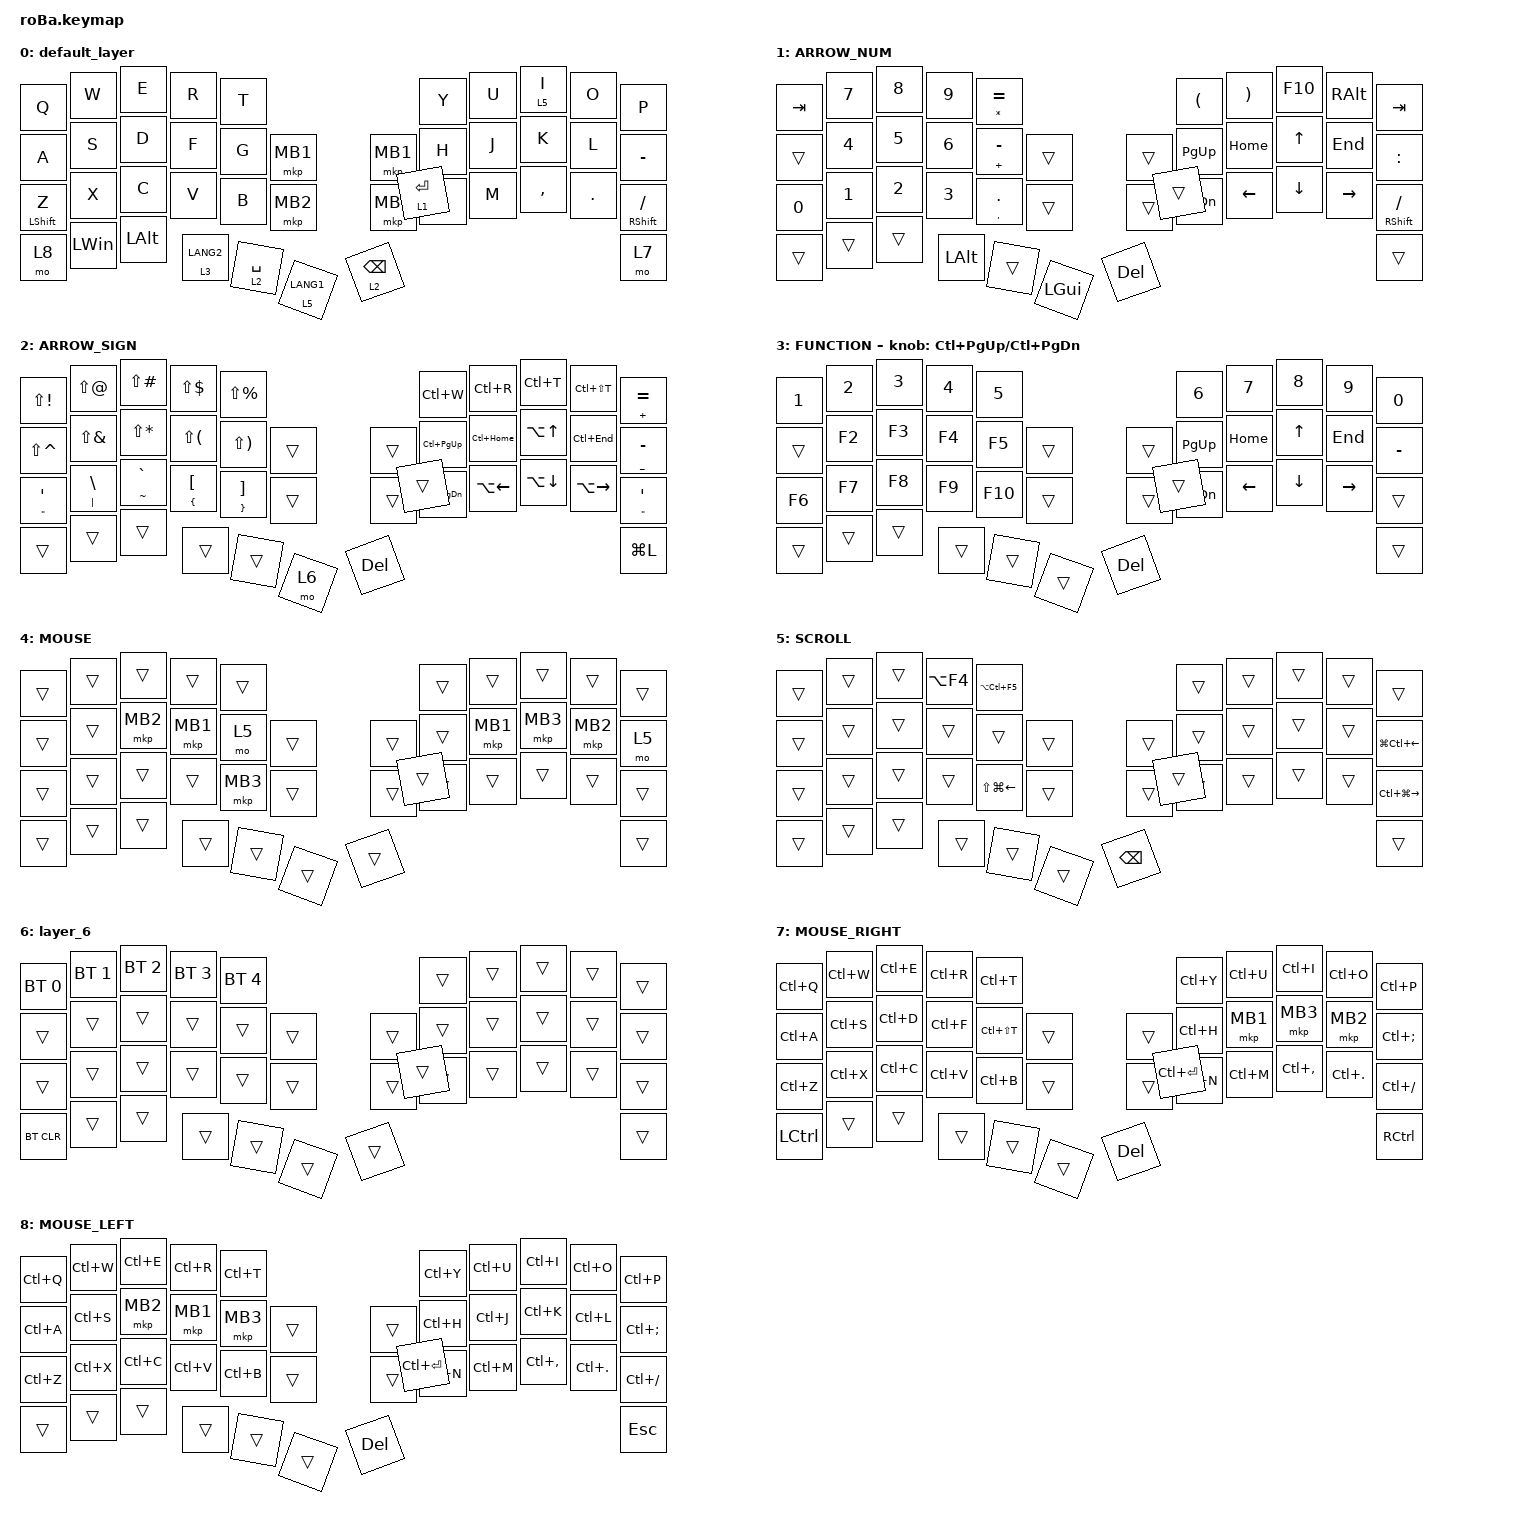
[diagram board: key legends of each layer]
#include <behaviors.dtsi>
#include <dt-bindings/zmk/bt.h>
#include <dt-bindings/zmk/keys.h>
#include <dt-bindings/zmk/pointing.h>

&mt {
    flavor = "balanced";
    quick-tap-ms = <300>;
    tapping-term-ms = <200>;
};

&lt {
    flavor = "hold-preferred";
    quick-tap-ms = <300>;
    tapping-term-ms = <200>;
};

&trackball {
    //automouse-layer = <4>;

    scroll-layers = <5>;

    // arrows {
    //     layers = <3>;
    //     bindings =
    //         <&kp RIGHT_ARROW>,
    //         <&kp LEFT_ARROW>,
    //         <&kp UP_ARROW>,
    //         <&kp DOWN_ARROW>;
    //     tick = <10>;
    //     wait-ms = <5>;
    //     tap-ms = <5>;
    // };
};

/ {
    combos {
        compatible = "zmk,combos";

        tab {
            bindings = <&kp TAB>;
            key-positions = <0 1>;
        };

        right_ctrl {
            bindings = <&kp RCTRL>;
            key-positions = <32 33>;
        };

        shift_ctrl {
            bindings = <&kp LS(LCTRL)>;
            key-positions = <22 23>;
        };

        ctrl {
            bindings = <&kp LCTRL>;
            key-positions = <34 35>;
        };

        layer_5 {
            bindings = <&mo 5>;
            key-positions = <20 21>;
        };

        layer_5_left {
            bindings = <&mo 5>;
            key-positions = <14 13>;
        };

        MB3_right {
            bindings = <&mkp MB3>;
            key-positions = <20 19>;
        };

        MB3_left {
            bindings = <&mkp MB3>;
            key-positions = <14 15>;
        };
    };

    macros {
        to_layer_0: to_layer_0 {
            compatible = "zmk,behavior-macro-one-param";
            #binding-cells = <1>;
            bindings = <&to 0 &macro_param_1to1 &kp MACRO_PLACEHOLDER>;
            label = "TO_LAYER_0";
        };
    };

    behaviors {
        lt_to_layer_0: lt_to_layer_0 {
            compatible = "zmk,behavior-hold-tap";
            label = "LAYER_TAP_TO_0";
            bindings = <&mo>, <&to_layer_0>;

            #binding-cells = <2>;
            tapping-term-ms = <200>;
            flavor = "hold-preferred";
        };

        lt_balanced: lt_balanced {
            compatible = "zmk,behavior-hold-tap";
            label = "LT_BALANCED";
            bindings = <&mo>, <&kp>;

            #binding-cells = <2>;
            tapping-term-ms = <200>;
            flavor = "tap-preferred";
            quick-tap-ms = <200>;
        };

        mt_balanced: mt_balanced {
            compatible = "zmk,behavior-hold-tap";
            label = "MT_BALANCED";
            bindings = <&kp>, <&kp>;

            #binding-cells = <2>;
            tapping-term-ms = <125>;
            flavor = "balanced";
        };
    };

    keymap {
        compatible = "zmk,keymap";

        default_layer {
            bindings = <
&kp Q                      &kp W         &kp E         &kp R        &kp T                                                   &kp Y        &kp U  &lt 5 I    &kp O    &kp P
&kp A                      &kp S         &kp D         &kp F        &kp G                 &mkp MB1         &mkp MB1         &kp H        &kp J  &kp K      &kp L    &kp MINUS
&mt_balanced LEFT_SHIFT Z  &kp X         &kp C         &kp V        &kp B                 &mkp MB2         &mkp MB2         &kp N        &kp M  &kp COMMA  &kp DOT  &mt_balanced RIGHT_SHIFT SLASH
&mo 8                      &kp LEFT_WIN  &kp LEFT_ALT  &lt 3 LANG2  &lt_balanced 2 SPACE  &lt 5 LANG1      &lt 2 BACKSPACE  &lt 1 ENTER                             &mo 7
            >;
        };

        ARROW_NUM {
            bindings = <
&kp TAB  &kp N7  &kp N8  &kp N9    &mt ASTERISK EQUAL                            &kp LEFT_PARENTHESIS  &kp RIGHT_PARENTHESIS  &kp F10         &kp RIGHT_ALT    &kp TAB
&trans   &kp N4  &kp N5  &kp N6    &mt PLUS MINUS      &trans        &trans      &kp PAGE_UP           &kp HOME               &kp UP_ARROW    &kp END          &kp COLON
&kp N0   &kp N1  &kp N2  &kp N3    &mt COMMA DOT       &trans        &trans      &kp PAGE_DOWN         &kp LEFT_ARROW         &kp DOWN_ARROW  &kp RIGHT_ARROW  &mt_balanced RIGHT_SHIFT SLASH
&trans   &trans  &trans  &kp LALT  &trans              &kp LGUI      &kp DELETE  &trans                                                                        &trans
            >;
        };

        ARROW_SIGN {
            bindings = <
&kp LS(EXCL)           &kp LS(AT)          &kp LS(POUND)    &kp LS(DLLR)                 &kp LS(PRCNT)                                          &kp LC(W)      &kp LC(R)     &kp LC(T)     &kp LC(LS(T))  &mt PLUS EQUAL
&kp LS(CARET)          &kp LS(AMPS)        &kp LS(STAR)     &kp LS(LPAR)                 &kp LS(RPAR)                   &trans      &trans      &kp LC(PG_UP)  &kp LC(HOME)  &kp LA(UP)    &kp LC(END)    &mt UNDER MINUS
&mt DOUBLE_QUOTES SQT  &mt PIPE BACKSLASH  &mt TILDE GRAVE  &mt LEFT_BRACE LEFT_BRACKET  &mt RIGHT_BRACE RIGHT_BRACKET  &trans      &trans      &kp LC(PG_DN)  &kp LA(LEFT)  &kp LA(DOWN)  &kp LA(RIGHT)  &mt DOUBLE_QUOTES APOS
&trans                 &trans              &trans           &trans                       &trans                         &mo 6       &kp DELETE  &trans                                                    &kp LG(L)
            >;
        };

        FUNCTION {
            bindings = <
&kp N1  &kp N2  &kp N3  &kp N4  &kp N5                           &kp N6     &kp N7    &kp N8    &kp N9     &kp N0
&trans  &kp F2  &kp F3  &kp F4  &kp F5   &trans      &trans      &kp PG_UP  &kp HOME  &kp UP    &kp END    &kp MINUS
&kp F6  &kp F7  &kp F8  &kp F9  &kp F10  &trans      &trans      &kp PG_DN  &kp LEFT  &kp DOWN  &kp RIGHT  &trans
&trans  &trans  &trans  &trans  &trans   &trans      &kp DELETE  &trans                                    &trans
            >;

            sensor-bindings = <&inc_dec_kp LC(PAGE_UP) LC(PAGE_DOWN)>;
        };

        MOUSE {
            bindings = <
&trans  &trans  &trans    &trans    &trans                        &trans  &trans    &trans    &trans    &trans
&trans  &trans  &mkp MB2  &mkp MB1  &mo 5     &trans      &trans  &trans  &mkp MB1  &mkp MB3  &mkp MB2  &mo 5
&trans  &trans  &trans    &trans    &mkp MB3  &trans      &trans  &trans  &trans    &trans    &trans    &trans
&trans  &trans  &trans    &trans    &trans    &trans      &trans  &trans                                &trans
            >;
        };

        SCROLL {
            bindings = <
&trans  &trans  &trans  &kp LA(F4)  &kp LA(LC(F5))                               &trans  &trans  &trans  &trans  &trans
&trans  &trans  &trans  &trans      &trans            &trans      &trans         &trans  &trans  &trans  &trans  &kp LG(LC(LEFT_ARROW))
&trans  &trans  &trans  &trans      &kp LS(LG(LEFT))  &trans      &trans         &trans  &trans  &trans  &trans  &kp LC(LG(RIGHT_ARROW))
&trans  &trans  &trans  &trans      &trans            &trans      &kp BACKSPACE  &trans                          &trans
            >;
        };

        layer_6 {
            bindings = <
&bt BT_SEL 0  &bt BT_SEL 1  &bt BT_SEL 2  &bt BT_SEL 3  &bt BT_SEL 4                      &trans  &trans  &trans  &trans  &trans
&trans        &trans        &trans        &trans        &trans        &trans      &trans  &trans  &trans  &trans  &trans  &trans
&trans        &trans        &trans        &trans        &trans        &trans      &trans  &trans  &trans  &trans  &trans  &trans
&bt BT_CLR    &trans        &trans        &trans        &trans        &trans      &trans  &trans                          &trans
            >;
        };

        MOUSE_RIGHT {
            bindings = <
&kp LC(Q)  &kp LC(W)  &kp LC(E)  &kp LC(R)  &kp LC(T)                              &kp LC(Y)      &kp LC(U)  &kp LC(I)      &kp LC(O)       &kp LC(P)
&kp LC(A)  &kp LC(S)  &kp LC(D)  &kp LC(F)  &kp LC(LS(T))  &trans      &trans      &kp LC(H)      &mkp MB1   &mkp MB3       &mkp MB2        &kp LC(SEMICOLON)
&kp LC(Z)  &kp LC(X)  &kp LC(C)  &kp LC(V)  &kp LC(B)      &trans      &trans      &kp LC(N)      &kp LC(M)  &kp LC(COMMA)  &kp LC(PERIOD)  &kp LC(SLASH)
&kp LCTRL  &trans     &trans     &trans     &trans         &trans      &kp DELETE  &kp LC(ENTER)                                            &kp RIGHT_CONTROL
            >;
        };

        MOUSE_LEFT {
            bindings = <
&kp LC(Q)  &kp LC(W)  &kp LC(E)  &kp LC(R)  &kp LC(T)                          &kp LC(Y)      &kp LC(U)  &kp LC(I)      &kp LC(O)    &kp LC(P)
&kp LC(A)  &kp LC(S)  &mkp MB2   &mkp MB1   &mkp MB3   &trans      &trans      &kp LC(H)      &kp LC(J)  &kp LC(K)      &kp LC(L)    &kp LC(SEMI)
&kp LC(Z)  &kp LC(X)  &kp LC(C)  &kp LC(V)  &kp LC(B)  &trans      &trans      &kp LC(N)      &kp LC(M)  &kp LC(COMMA)  &kp LC(DOT)  &kp LC(FSLH)
&trans     &trans     &trans     &trans     &trans     &trans      &kp DELETE  &kp LC(ENTER)                                         &kp ESC
            >;
        };
    };
};
